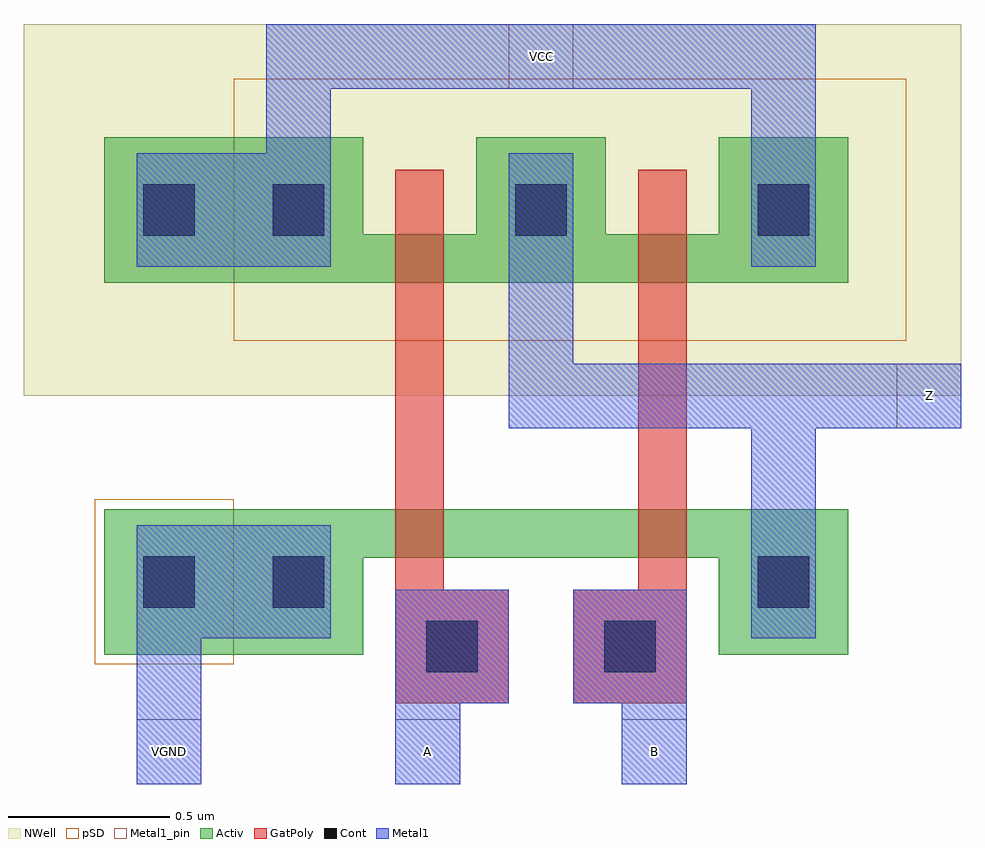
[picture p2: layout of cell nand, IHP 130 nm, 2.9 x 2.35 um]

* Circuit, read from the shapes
.subckt nand A B VCC VGND Z
XM1 n1 A VGND VGND sg13_lv_nmos w=0.15u l=0.15u
XM2 Z B n1 VGND sg13_lv_nmos w=0.15u l=0.15u
XM3 Z A VCC VCC sg13_lv_pmos w=0.15u l=0.15u
XM4 VCC B Z VCC sg13_lv_pmos w=0.15u l=0.15u
.ends

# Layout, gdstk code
import gdstk
lib = gdstk.Library(unit=1e-6, precision=1e-09)
def R(c, l, rs):  # rectangles x0, y0, x1, y1
    for r in rs: c.add(gdstk.rectangle(r[:2], r[2:], *l))
def A(c, l, x, y, w, h, nx, ny, dx, dy):  # array of equal rectangles
    R(c, l, [(x+i*dx, y+j*dy, x+i*dx+w, y+j*dy+h) for i in range(nx) for j in range(ny)])
Activ = (1, 0)
GatPoly = (5, 0)
Cont = (6, 0)
Metal1 = (8, 0)
Metal1_pin = (8, 2)
pSD = (14, 0)
NWell = (31, 0)

nand = lib.new_cell('nand')
R(nand, Activ, [(0.25,0.4,1.05,0.7), (2.15,0.4,2.55,0.7), (0.25,0.7,2.55,0.85), (0.25,1.55,2.55,1.7), (0.25,1.7,1.05,2), (1.4,1.7,1.8,2), (2.15,1.7,2.55,2)])
R(nand, GatPoly, [(1.15,0.25,1.5,0.6), (1.7,0.25,2.05,0.6), (1.15,0.6,1.3,1.9), (1.9,0.6,2.05,1.9)])
A(nand, Cont, 0.77, 1.695, 0.16, 0.16, 3, 1, 0.75, 0)
R(nand, Cont, [(1.245,0.345,1.405,0.505), (1.795,0.345,1.955,0.505), (0.37,0.545,0.53,0.705), (0.77,0.545,0.93,0.705), (2.27,0.545,2.43,0.705), (0.37,1.695,0.53,1.855)])
R(nand, Metal1, [(0.35,0,0.55,0.45), (1.15,0,1.35,0.25), (1.85,0,2.05,0.25), (1.15,0.25,1.5,0.6), (1.7,0.25,2.05,0.6), (0.35,0.45,0.95,0.8), (2.25,0.45,2.45,1.1), (1.5,1.1,2.9,1.3), (1.5,1.3,1.7,1.95), (0.35,1.6,0.95,1.95), (2.25,1.6,2.45,2.15), (0.75,1.95,0.95,2.15), (0.75,2.15,2.45,2.35)])
R(nand, Metal1_pin, [(0.35,0,0.55,0.2), (1.15,0,1.35,0.2), (1.85,0,2.05,0.2), (2.7,1.1,2.9,1.3), (1.5,2.15,1.7,2.35)])
R(nand, pSD, [(0.22,0.37,0.65,0.88), (0.65,1.37,2.73,2.18)])
R(nand, NWell, [(0,1.2,2.9,2.35)])
nand.add(gdstk.Label('Z', (2.8,1.2), layer=8, texttype=25))
nand.add(gdstk.Label('B', (1.95,0.1), layer=8, texttype=25))
nand.add(gdstk.Label('A', (1.25,0.1), layer=8, texttype=25))
nand.add(gdstk.Label('VGND', (0.45,0.1), layer=8, texttype=25))
nand.add(gdstk.Label('VCC', (1.6,2.25), layer=8, texttype=25))

lib.write_gds('nand.gds')
